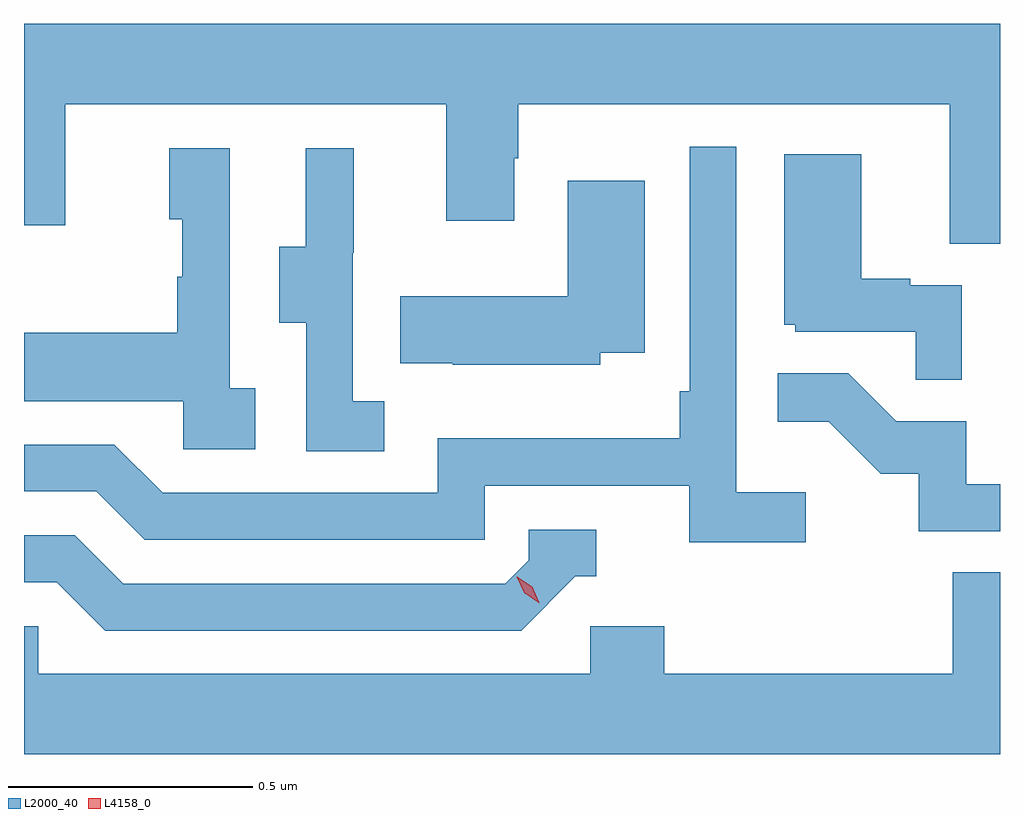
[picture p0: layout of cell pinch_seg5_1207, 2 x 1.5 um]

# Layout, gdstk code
import gdstk
lib = gdstk.Library(unit=1e-6, precision=1e-09)
def P(c, l, *ps):  # polygons
    for p in ps: c.add(gdstk.Polygon(p, *l))
L2000_40 = (2000, 40)
L4158_0 = (4158, 0)

pinch_seg5_1207 = lib.new_cell('pinch_seg5_1207')
P(pinch_seg5_1207, L2000_40, [(868.194,851.596),(866.194,851.596),(866.194,851.184),(866.279,851.184),(866.279,851.432),(867.059,851.432),(867.059,851.193),(867.199,851.193),(867.199,851.321),(867.207,851.321),(867.207,851.432),(868.091,851.432),(868.091,851.146),(868.194,851.146)],
  [(867.796,850.636),(867.654,850.636),(867.654,851.344),(867.558,851.344),(867.558,850.843),(867.538,850.843),(867.538,850.747),(867.042,850.747),(867.042,850.635),(866.478,850.635),(866.379,850.734),(866.194,850.734),(866.194,850.638),(866.342,850.638),(866.441,850.539),(867.138,850.539),(867.138,850.65),(867.557,850.65),(867.557,850.534),(867.796,850.534)],
  [(866.932,850.823),(866.868,850.823),(866.868,851.127),(866.87,851.127),(866.87,851.341),(866.771,851.341),(866.771,851.139),(866.717,851.139),(866.717,850.984),(866.772,850.984),(866.772,850.72),(866.932,850.72)],
  [(866.668,850.85),(866.616,850.85),(866.616,851.341),(866.492,851.341),(866.492,851.196),(866.518,851.196),(866.518,851.078),(866.508,851.078),(866.508,850.963),(866.194,850.963),(866.194,850.823),(866.52,850.823),(866.52,850.725),(866.668,850.725)],
  [(868.116,851.061),(868.01,851.061),(868.01,851.074),(867.91,851.074),(867.91,851.329),(867.752,851.329),(867.752,850.98),(867.774,850.98),(867.774,850.965),(868.021,850.965),(868.021,850.867),(868.116,850.867)],
  [(867.375,850.922),(867.466,850.922),(867.466,851.275),(867.308,851.275),(867.308,851.038),(866.965,851.038),(866.965,850.901),(867.073,850.901),(867.073,850.898),(867.375,850.898)],
  [(868.194,850.653),(868.125,850.653),(868.125,850.782),(867.981,850.782),(867.883,850.88),(867.739,850.88),(867.739,850.781),(867.843,850.781),(867.95,850.674),(868.027,850.674),(868.027,850.557),(868.194,850.557)],
  [(867.324,850.464),(867.367,850.464),(867.367,850.56),(867.228,850.56),(867.228,850.497),(867.18,850.449),(866.397,850.449),(866.298,850.548),(866.194,850.548),(866.194,850.452),(866.261,850.452),(866.36,850.353),(867.213,850.353)],
  [(868.194,850.472),(868.097,850.472),(868.097,850.264),(867.506,850.264),(867.506,850.362),(867.354,850.362),(867.354,850.264),(866.223,850.264),(866.223,850.362),(866.194,850.362),(866.194,850.1),(868.194,850.1)])
P(pinch_seg5_1207, L4158_0, [(867.249,850.41),(867.219,850.43),(867.204,850.463),(867.204,850.463),(867.205,850.463),(867.235,850.443),(867.25,850.41),(867.25,850.41)])

lib.write_gds('pinch_seg5_1207.gds')
